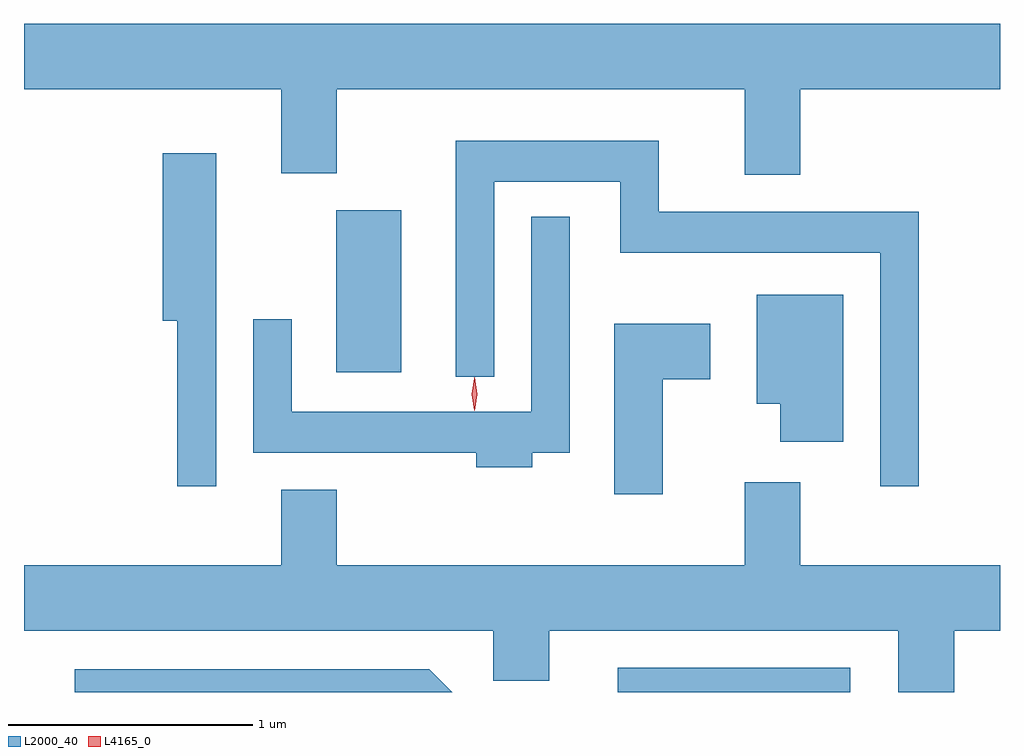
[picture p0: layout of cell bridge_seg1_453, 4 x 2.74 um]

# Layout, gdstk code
import gdstk
lib = gdstk.Library(unit=1e-6, precision=1e-09)
def R(c, l, rs):  # rectangles x0, y0, x1, y1
    for r in rs: c.add(gdstk.rectangle(r[:2], r[2:], *l))
def P(c, l, *ps):  # polygons
    for p in ps: c.add(gdstk.Polygon(p, *l))
L2000_40 = (2000, 40)
L4165_0 = (4165, 0)

bridge_seg1_453 = lib.new_cell('bridge_seg1_453')
R(bridge_seg1_453, L2000_40, [(360.721,886.004,361.674,886.104), (359.566,887.316,359.834,887.979)])
P(bridge_seg1_453, L2000_40, [(361.469,888.476),(362.287,888.476),(362.287,888.744),(358.287,888.744),(358.287,888.476),(359.341,888.476),(359.341,888.131),(359.569,888.131),(359.569,888.476),(361.241,888.476),(361.241,888.126),(361.469,888.126)],
  [(361.954,887.974),(360.889,887.974),(360.889,888.264),(360.056,888.264),(360.056,887.298),(360.214,887.298),(360.214,888.096),(360.731,888.096),(360.731,887.806),(361.796,887.806),(361.796,886.848),(361.954,886.848)],
  [(359.074,888.214),(358.856,888.214),(358.856,887.526),(358.916,887.526),(358.916,886.848),(359.074,886.848)],
  [(360.369,886.986),(360.524,886.986),(360.524,887.953),(360.366,887.953),(360.366,887.154),(359.384,887.154),(359.384,887.533),(359.226,887.533),(359.226,886.986),(360.141,886.986),(360.141,886.926),(360.369,886.926)],
  [(361.644,887.634),(361.291,887.634),(361.291,887.186),(361.386,887.186),(361.386,887.031),(361.644,887.031)],
  [(360.904,887.286),(361.099,887.286),(361.099,887.514),(360.706,887.514),(360.706,886.816),(360.904,886.816)],
  [(362.099,886.256),(362.287,886.256),(362.287,886.524),(361.469,886.524),(361.469,886.864),(361.241,886.864),(361.241,886.524),(359.569,886.524),(359.569,886.834),(359.341,886.834),(359.341,886.524),(358.287,886.524),(358.287,886.256),(360.211,886.256),(360.211,886.051),(360.439,886.051),(360.439,886.256),(361.871,886.256),(361.871,886.004),(362.099,886.004)],
  [(359.947,886.099),(358.496,886.099),(358.496,886.004),(360.042,886.004)])
P(bridge_seg1_453, L4165_0, [(360.132,887.159),(360.132,887.16),(360.122,887.226),(360.132,887.292),(360.132,887.293),(360.132,887.292),(360.142,887.226),(360.132,887.16)],
  [(360.134,887.157),(360.125,887.226),(360.134,887.296),(360.135,887.296),(360.135,887.296),(360.145,887.226),(360.135,887.157),(360.135,887.157)])

lib.write_gds('bridge_seg1_453.gds')
